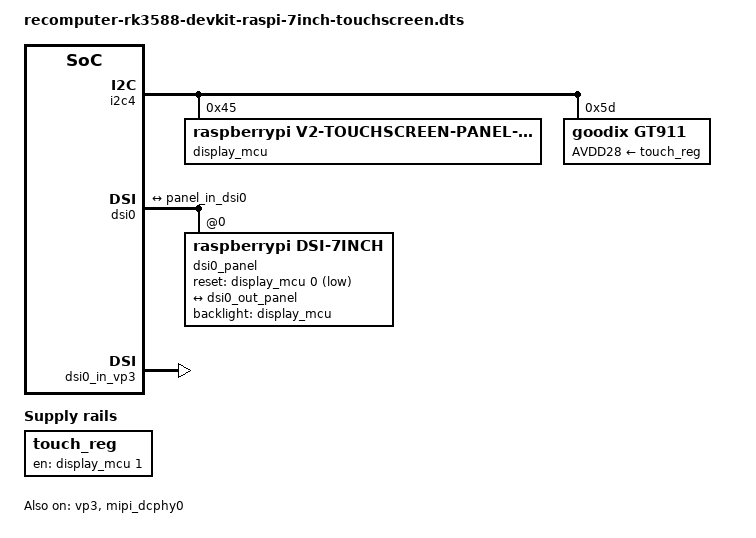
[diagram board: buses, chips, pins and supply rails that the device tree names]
/dts-v1/;
/plugin/;
#include <dt-bindings/usb/pd.h>
#include <dt-bindings/gpio/gpio.h>
#include <dt-bindings/pwm/pwm.h>
#include <dt-bindings/pinctrl/rockchip.h>
#include <dt-bindings/input/rk-input.h>
#include <dt-bindings/display/drm_mipi_dsi.h>
#include <dt-bindings/display/rockchip_vop.h>
#include <dt-bindings/sensor-dev.h>
#include <dt-bindings/gpio/gpio.h>
#include <dt-bindings/pinctrl/rockchip.h>

/ {


	fragment@0 {
		target-path = "/";

		__overlay__ {
			touch_reg: touch_reg {
				compatible = "regulator-fixed";
				regulator-name = "touch_reg_1";
				gpio = <&display_mcu 1 GPIO_ACTIVE_HIGH>;
				startup-delay-us = <50000>;
				enable-active-high;
				regulator-boot-on;
				regulator-always-on;
			};
		};
	};

	fragment@1 {
		target = <&i2c4>;

		__overlay__ {
			status = "okay";
			pinctrl-0 = <&i2c4m1_xfer>;

			display_mcu: display_mcu@45 {
				compatible = "raspberrypi,v2-touchscreen-panel-regulator";
				reg = <0x45>;
				gpio-controller;
				#gpio-cells = <2>;
			};

			gt911: gt911@5d {
				compatible = "goodix,gt911";
				reg = <0x5d>;
				AVDD28-supply = <&touch_reg>;
				touchscreen-size-x = <720>;
				touchscreen-size-y = <1280>;
				touchscreen-x-mm = <90>;
				touchscreen-y-mm = <151>;
				// touchscreen-inverted-x;
				// touchscreen-inverted-y;
				// touchscreen-swapped-x-y;
			};
		};
	};


	fragment@2 {
		target = <&dsi0>;

		__overlay__ {
			status = "okay";

			dsi0_panel: dsi0_panel@0 {
				reg = <0>;
				compatible = "raspberrypi,dsi-7inch";
				reset-gpio = <&display_mcu 0 GPIO_ACTIVE_LOW>;
				backlight = <&display_mcu>;
				rotation = <90>;
				port {
					panel_in_dsi0: endpoint {
						remote-endpoint = <&dsi0_out_panel>;
					};
				};
			};

			ports {
				#address-cells = <1>;
				#size-cells = <0>;

				port@1 {
					reg = <1>;
					dsi0_out_panel: endpoint {
						remote-endpoint = <&panel_in_dsi0>;
					};
				};
			};

		};
	};


	fragment@3 {
		target = <&vp3>;

		__overlay__ {
			status = "okay";
		};
	};


	fragment@4 {
		target = <&dsi0_in_vp3>;

		__overlay__ {
			status = "okay";
		};
	};


	fragment@5 {
		target = <&dsi0_in_vp2>;

		__overlay__ {
			status = "disabled";
		};
	};

	fragment@6 {
		target = <&route_dsi0>;

		__overlay__ {
			status = "disabled";
			connect = <&vp3_out_dsi0>;
		};
	};

	fragment@7 {
		target = <&mipi_dcphy0>;

		__overlay__ {
			status = "okay";
		};
	};

};
